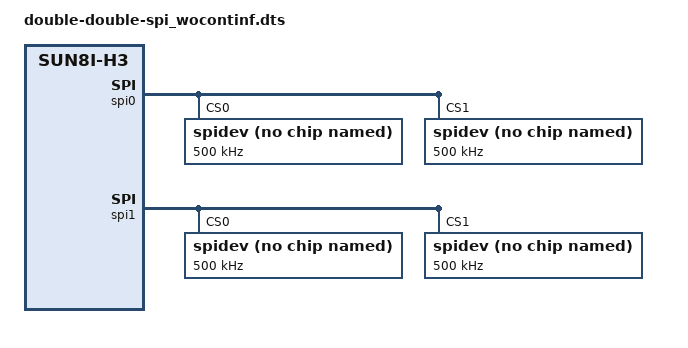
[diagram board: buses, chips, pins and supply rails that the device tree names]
/dts-v1/;
/plugin/;

/ {
    compatible = "allwinner,sun8i-h3";

    fragment@0 {
        target = <&spi0>;
        __overlay__ {
            pinctrl-names = "default";
            pinctrl-0 = <&spi0_pins>;
            status = "okay";
            #address-cells = <1>;
            #size-cells = <0>;
            spidev@0 {
                compatible = "spidev";
                reg = <0x0>;
                spi-max-frequency = <500000>;
            };
            spidev@1 {
                compatible = "spidev";
                reg = <0x1>;
                spi-max-frequency = <500000>;
            };
        };
    };
    fragment@1 {
        target = <&spi1>;
        __overlay__ {
            pinctrl-names = "default";
            pinctrl-0 = <&spi1_pins>;
            status = "okay";
            #address-cells = <1>;
            #size-cells = <0>;
            spidev@0 {
                compatible = "spidev";
                reg = <0x0>;
                spi-max-frequency = <500000>;
            };
            spidev@1 {
                compatible = "spidev";
                reg = <0x1>;
                spi-max-frequency = <500000>;
            };
        };
    };
};
